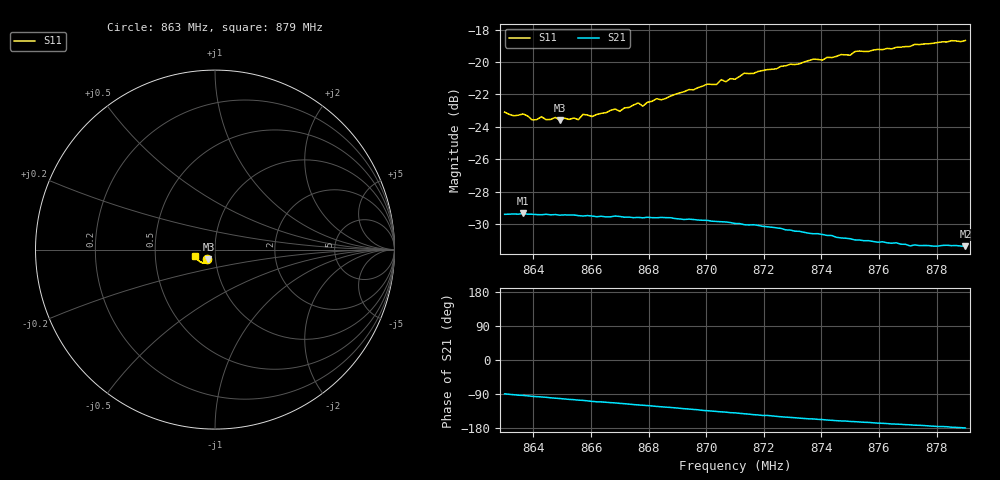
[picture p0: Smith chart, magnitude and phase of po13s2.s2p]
# HZ S RI R 50
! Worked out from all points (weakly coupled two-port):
!   101 points, 863 MHz to 879 MHz, reference 50 ohm
!   highest |S21| = -29.34 dB at 863.64 MHz (marker M1); lowest = -31.4 dB at 879 MHz (marker M2)
!   lowest |S11| = -23.6 dB at 864.92 MHz (marker M3), VSWR 1.14, Z = 46.2 - j5.11 ohm
!   |S11| at or under -10 dB: start of sweep to end of sweep
!   S12 and S22 are empty: the file has one direction only
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8.63e8  -0.0446 -0.054  0.000423 -0.0339  0 0  0 0
8.6332e8  -0.0418 -0.054  -0.000962 -0.034  0 0  0 0
8.6364e8  -0.0415 -0.0553  -0.00201 -0.0341  0 0  0 0
8.6396e8  -0.0389 -0.0536  -0.00351 -0.0337  0 0  0 0
8.6428e8  -0.0382 -0.0561  -0.00439 -0.0335  0 0  0 0
8.6492e8  -0.0366 -0.0551  -0.00683 -0.033  0 0  0 0
8.6556e8  -0.0346 -0.0566  -0.00921 -0.0323  0 0  0 0
8.6572e8  -0.0352 -0.0592  -0.00954 -0.0321  0 0  0 0
8.6604e8  -0.0341 -0.0587  -0.011 -0.0316  0 0  0 0
8.6684e8  -0.0346 -0.0627  -0.0132 -0.0308  0 0  0 0
8.67e8  -0.0342 -0.0616  -0.0138 -0.0304  0 0  0 0
8.6764e8  -0.0363 -0.0654  -0.0158 -0.0291  0 0  0 0
8.678e8  -0.0354 -0.0639  -0.0162 -0.0288  0 0  0 0
8.6844e8  -0.0372 -0.0668  -0.0183 -0.0277  0 0  0 0
8.7004e8  -0.0444 -0.0731  -0.0225 -0.0234  0 0  0 0
8.7036e8  -0.0452 -0.0723  -0.0231 -0.0225  0 0  0 0
8.7052e8  -0.0482 -0.0739  -0.0235 -0.022  0 0  0 0
8.71e8  -0.049 -0.0737  -0.0241 -0.0206  0 0  0 0
8.7132e8  -0.0522 -0.0762  -0.0248 -0.0195  0 0  0 0
8.7372e8  -0.0695 -0.0747  -0.0269 -0.0122  0 0  0 0
8.7644e8  -0.0916 -0.0605  -0.0271 -0.00537  0 0  0 0
8.79e8  -0.1101 -0.0382  -0.027 -0.000295  0 0  0 0
